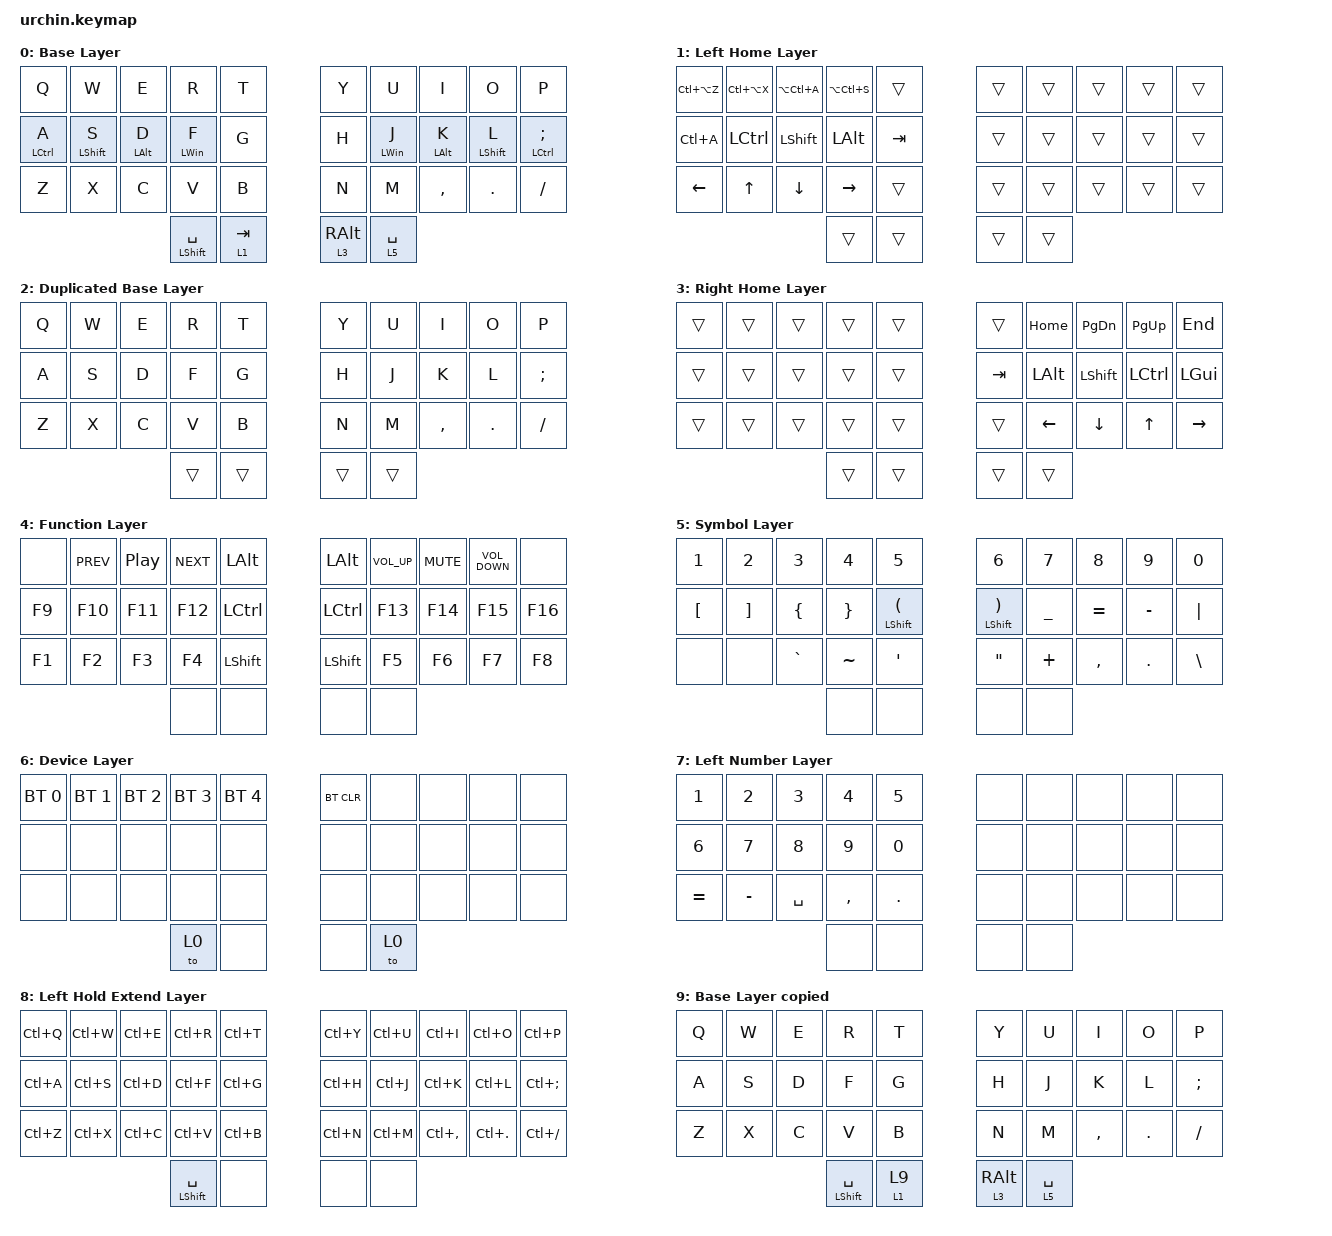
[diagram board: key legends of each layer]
/*
 * Copyright (c) 2020 duckyb
 *
 * SPDX-License-Identifier: MIT
 */

#include <behaviors.dtsi>
#include <dt-bindings/zmk/bt.h>
#include <dt-bindings/zmk/keys.h>
#include "keymap_italian.h"

// Layer definitions

#define BASE 0
#define SYM 1
#define EXT 2
#define FNC 3
#define SYM2 4
#define ACCENT 5
#define SETTINGS 6

// -----------------

&sk {
    // don't release mods on other mods presses

    ignore-modifiers;
};

/ {
    behaviors {
        // Enables holding the first mod-tap key
        // by performing a tap-release-hold sequence.
        // To use it: "&qt KEYCODE1 KEYCODE2"

        qt: quick_tap {
            compatible = "zmk,behavior-hold-tap";
            label = "QUICK_TAP";
            #binding-cells = <2>;
            flavor = "balanced";
            tapping-term-ms = <150>;
            quick-tap-ms = <150>;
            bindings = <&kp>, <&kp>;
        };

        homerow: homerow {
            compatible = "zmk,behavior-hold-tap";
            label = "HOMEROW";
            #binding-cells = <2>;
            flavor = "tap-preferred";
            tapping-term-ms = <250>;
            bindings = <&kp>, <&kp>;

            quick-tap-ms = <150>;
        };

        layer_quick_tab: layer_quick_tab {
            compatible = "zmk,behavior-hold-tap";
            label = "LAYER_QUICK_TAB";
            #binding-cells = <2>;
            flavor = "balanced";
            tapping-term-ms = <150>;
            bindings = <&mo>, <&kp>;

            retro-tap;
        };

        hold_stick_tab_layer: hold_stick_tab_layer {
            compatible = "zmk,behavior-hold-tap";
            label = "HOLD_STICK_TAB_LAYER";
            #binding-cells = <2>;
            flavor = "tap-preferred";
            tapping-term-ms = <150>;
            bindings = <&mo>, <&sl>;
        };

        rthumb_tab_dance: rthumb_tab_dance {
            compatible = "zmk,behavior-tap-dance";
            label = "RTHUMB_TAB_DANCE";
            #binding-cells = <0>;
            bindings = <&kp RALT>, <&sl 4>;
        };

        rhumb_hold_tap: rhumb_hold_tap {
            compatible = "zmk,behavior-hold-tap";
            label = "RHUMB_HOLD_TAP";
            #binding-cells = <2>;
            flavor = "balanced";
            tapping-term-ms = <150>;
            bindings = <&mo>, <&rthumb_tab_dance>;
        };

        shift_space: shift_space {
            compatible = "zmk,behavior-hold-tap";
            label = "SHIFT_SPACE";
            #binding-cells = <2>;
            flavor = "tap-preferred";
            tapping-term-ms = <150>;
            bindings = <&kp>, <&kp>;

            retro-tap;
        };
    };

    macros {
        // sometimes my device thinks a modifier is being held down
        // pressing all modifiers fixes it.

        unstick: unstick {
            label = "ZM_unstick";
            compatible = "zmk,behavior-macro";
            #binding-cells = <0>;
            bindings = <&kp LSHIFT &kp RSHIFT &kp LCTRL &kp RCTRL &kp LALT &kp RALT &kp LGUI &kp RGUI>;
        };
    };

    combos {
        compatible = "zmk,combos";

        // both right thumb keys
        // internal-left & external-right thumb keys
        // both left thumb keys

        combo_system {
            bindings = <&to 6>;
            key-positions = <30 31 32 33>;
        };

        combo_bootloader_reset {
            bindings = <&bootloader>;
            key-positions = <0 10 20>;
            layers = <6>;
        };

        combo_system_reset {
            bindings = <&sys_reset>;
            key-positions = <9 19 29>;
            layers = <6>;
        };

        combo_backspace1 {
            bindings = <&kp BACKSPACE>;
            key-positions = <16 17>;
            layers = <0 5>;
            timeout-ms = <38>;
        };

        combo_backspace2 {
            bindings = <&kp BACKSPACE>;
            key-positions = <12 13>;
            layers = <0 5>;
            timeout-ms = <38>;
        };

        combo_esc {
            bindings = <&kp ESC>;
            key-positions = <1 2>;
            layers = <0>;
            timeout-ms = <38>;
        };

        combo_enter1 {
            bindings = <&kp ENTER>;
            key-positions = <16 18>;
            layers = <0 5>;
            timeout-ms = <38>;
        };

        combo_enter2 {
            bindings = <&kp ENTER>;
            key-positions = <11 13>;
            layers = <0 5>;
            timeout-ms = <38>;
            require-prior-idle-ms = <50>;
        };

        combo_delete1 {
            bindings = <&kp DEL>;
            key-positions = <23 22>;
            layers = <0 5>;
            timeout-ms = <38>;
        };

        combo_delete2 {
            bindings = <&kp DEL>;
            key-positions = <26 27>;
            layers = <0 5>;
            timeout-ms = <38>;
        };

        combo_win+e {
            bindings = <&kp LG(E)>;
            key-positions = <2 1>;
            layers = <1>;
        };

        combo_win+r {
            bindings = <&kp LG(R)>;
            key-positions = <2 3>;
            layers = <1>;
        };

        combo_win+v {
            bindings = <&kp LG(V)>;
            key-positions = <22 23>;
            layers = <1>;
        };

        combo_win+shift+s {
            bindings = <&kp LG(LS(S))>;
            key-positions = <11 10>;
            layers = <1>;
        };

        // left index & middle fingers (home-row)
        // hold control & space for Adobe workflow
    };

    keymap {
        compatible = "zmk,keymap";

        // Base alpha layer

        BL {
            label = "Base Layer";
            bindings = <
&kp Q             &kp W                  &kp E                &kp R                          &kp T                   &kp Y                    &kp U                     &kp I                &kp O                  &kp P
&homerow LCTRL A  &homerow LEFT_SHIFT S  &homerow LEFT_ALT D  &homerow LEFT_WIN F            &kp G                   &kp H                    &homerow LEFT_WIN J       &homerow LEFT_ALT K  &homerow LEFT_SHIFT L  &homerow LCTRL SEMI
&kp Z             &kp X                  &kp C                &kp V                          &kp B                   &kp N                    &kp M                     &kp COMMA            &kp DOT                &kp FSLH
                                                              &shift_space LEFT_SHIFT SPACE  &layer_quick_tab 1 TAB  &layer_quick_tab 3 RALT  &layer_quick_tab 5 SPACE
            >;
        };

        LHL {
            label = "Left Home Layer";
            bindings = <
&kp LC(LA(Z))  &kp LC(LA(X))  &kp LA(LC(A))  &kp LA(LC(S))  &trans   &trans  &trans  &trans  &trans  &trans
&kp LC(A)      &kp LCTRL      &kp LSHFT      &kp LALT       &kp TAB  &trans  &trans  &trans  &trans  &trans
&kp LEFT       &kp UP         &kp DOWN       &kp RIGHT      &trans   &trans  &trans  &trans  &trans  &trans
                                             &trans         &trans   &trans  &trans
            >;
        };

        DBL {
            label = "Duplicated Base Layer";
            bindings = <
&kp Q  &kp W  &kp E  &kp R   &kp T   &kp Y   &kp U   &kp I      &kp O    &kp P
&kp A  &kp S  &kp D  &kp F   &kp G   &kp H   &kp J   &kp K      &kp L    &kp SEMI
&kp Z  &kp X  &kp C  &kp V   &kp B   &kp N   &kp M   &kp COMMA  &kp DOT  &kp FSLH
                     &trans  &trans  &trans  &trans
            >;
        };

        RHL {
            bindings = <
&trans  &trans  &trans  &trans  &trans  &trans   &kp HOME  &kp PG_DN  &kp PG_UP  &kp END
&trans  &trans  &trans  &trans  &trans  &kp TAB  &kp LALT  &kp LSHFT  &kp LCTRL  &kp LGUI
&trans  &trans  &trans  &trans  &trans  &trans   &kp LEFT  &kp DOWN   &kp UP     &kp RIGHT
                        &trans  &trans  &trans   &trans
            >;

            label = "Right Home Layer";
        };

        FL {
            bindings = <
&none   &kp C_PREV  &kp C_PLAY_PAUSE  &kp C_NEXT  &kp LALT   &kp LALT    &kp C_VOLUME_UP  &kp C_MUTE  &kp C_VOLUME_DOWN  &none
&kp F9  &kp F10     &kp F11           &kp F12     &kp LCTRL  &kp LCTRL   &kp F13          &kp F14     &kp F15            &kp F16
&kp F1  &kp F2      &kp F3            &kp F4      &kp LSHFT  &kp LSHIFT  &kp F5           &kp F6      &kp F7             &kp F8
                                      &none       &none      &none       &none
            >;

            label = "Function Layer";
        };

        SL {
            bindings = <
&kp N1    &kp N2    &kp N3     &kp N4     &kp N5               &kp N6               &kp N7     &kp N8     &kp N9     &kp N0
&kp LBKT  &kp RBKT  &kp LBRC   &kp RBRC   &qt LEFT_SHIFT LPAR  &qt LEFT_SHIFT RPAR  &kp UNDER  &kp EQUAL  &kp MINUS  &kp PIPE
&none     &none     &kp GRAVE  &kp TILDE  &kp SQT              &kp DQT              &kp PLUS   &kp COMMA  &kp DOT    &kp BSLH
                               &none      &none                &none                &none
            >;

            label = "Symbol Layer";
        };

        DL {
            bindings = <
&bt BT_SEL 0  &bt BT_SEL 1  &bt BT_SEL 2  &bt BT_SEL 3  &bt BT_SEL 4  &bt BT_CLR  &none  &none  &none  &none
&none         &none         &none         &none         &none         &none       &none  &none  &none  &none
&none         &none         &none         &none         &none         &none       &none  &none  &none  &none
                                          &to 0         &none         &none       &to 0
            >;

            label = "Device Layer";
        };

        LNL {
            bindings = <
&kp N1     &kp N2     &kp N3     &kp N4     &kp N5   &none  &none  &none  &none  &none
&kp N6     &kp N7     &kp N8     &kp N9     &kp N0   &none  &none  &none  &none  &none
&kp EQUAL  &kp MINUS  &kp SPACE  &kp COMMA  &kp DOT  &none  &none  &none  &none  &none
                                 &none      &none    &none  &none
            >;

            label = "Left Number Layer";
        };

        LHEL {
            bindings = <
&kp LC(Q)  &kp LC(W)  &kp LC(E)  &kp LC(R)        &kp LC(T)  &kp LC(Y)  &kp LC(U)  &kp LC(I)      &kp LC(O)    &kp LC(P)
&kp LC(A)  &kp LC(S)  &kp LC(D)  &kp LC(F)        &kp LC(G)  &kp LC(H)  &kp LC(J)  &kp LC(K)      &kp LC(L)    &kp LC(SEMI)
&kp LC(Z)  &kp LC(X)  &kp LC(C)  &kp LC(V)        &kp LC(B)  &kp LC(N)  &kp LC(M)  &kp LC(COMMA)  &kp LC(DOT)  &kp LC(FSLH)
                                 &mt LSHFT SPACE  &none      &none      &none
            >;

            label = "Left Hold Extend Layer";
        };

        layer_9 {
            label = "Base Layer copied";
            bindings = <
&kp Q  &kp W  &kp E  &kp R                          &kp T                      &kp Y                    &kp U                     &kp I      &kp O    &kp P
&kp A  &kp S  &kp D  &kp F                          &kp G                      &kp H                    &kp J                     &kp K      &kp L    &kp SEMI
&kp Z  &kp X  &kp C  &kp V                          &kp B                      &kp N                    &kp M                     &kp COMMA  &kp DOT  &kp FSLH
                     &shift_space LEFT_SHIFT SPACE  &hold_stick_tab_layer 1 9  &layer_quick_tab 3 RALT  &layer_quick_tab 5 SPACE
            >;
        };

        // Numbers and high frequency symbols
        // Main modifiers and arrow keys
        // Function keys with modifiers
        // Low frequency symbols.
        // Used to type regional accents.
        // Used to change the keyboard's settings.LHL {};
    };

    conditional_layers {
        compatible = "zmk,conditional-layers";

        function_layer {
            if-layers = <3 1>;
            then-layer = <4>;
        };
    };
};
